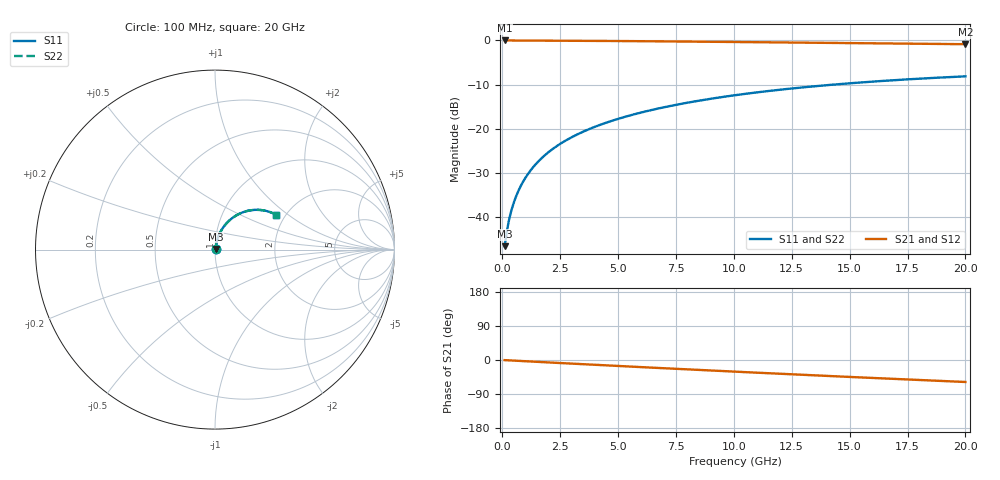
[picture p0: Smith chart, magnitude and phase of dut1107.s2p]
! Touchstone file exported from HFSS 2026.1.0
!  File:  C:/ffzhzh/LocalFiles/Ansys_Project_Files/temp_train_BSMRDL_1107_1783174877_43440.aedt
!  Generated:  10:22:38 PM Jul  4, 2026
!  Design:  BSMRDL
!  Project:  temp_train_BSMRDL_1107_1783174877_43440
! Variables:
!  h_bsmrdl = 5.64um
!  h_ox = 20um
!  h_rdl = 5um
!  h_sub = 80um
!  h_tmrdl = 5um
!  h_tsv = 80um
!  h_via = 3um
!  l_bsmrdl = 972.19um
!  l_sub = 1372.19um
!  l_tmrdl = 200um
!  m_sub = 200um
!  pitch = 36.12um
!  r_tsv = 6um
!  s_tmrdl = 10um
!  w_bsmrdl = 17.77um
!  w_sub = 500um
!  w_tmrdl = 12um
!  x_tsv_center1 = 206um
!  x_tsv_center2 = 1195.96um
!  x_tsv_center3 = 1407.96um
!  x_tsv_center4 = 2397.92um
!  x_tsv_center5 = 2609.92um
!  x_tsv_center6 = 3599.88um
# GHz S MA R 50.000000
! Terminal data exported
! Port[1] = BSM_RDL1_1_T1
! Port[2] = BSM_RDL1_1_T2
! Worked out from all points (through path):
!   200 points, 100 MHz to 20 GHz, reference 50 ohm
!   highest |S21| = -0.03 dB at 100 MHz (marker M1); lowest = -0.9 dB at 20 GHz (marker M2)
!   group delay of S21, straight-line fit = 8.04 ps
!   lowest |S11| = -46.6 dB at 100 MHz (marker M3), VSWR 1.01, Z = 50.4 + j0.305 ohm
!   |S11| at or under -10 dB: start of sweep to 14.34 GHz
!   |S22| runs from -46.6 to -8.1 dB; largest |S21 - S12| = 2e-14
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0.1  0.004701 40.1  0.9964 -0.3  0.9964 -0.3  0.004701 40.1
! Gamma 0 0 0 0
! Port Impedance 50 0 50 0
0.2  0.007047 56.6  0.9962 -0.7  0.9962 -0.7  0.007047 56.6
0.3  0.009562 64.2  0.996 -1.0  0.996 -1.0  0.009562 64.2
0.4  0.01212 68.6  0.9958 -1.3  0.9958 -1.3  0.01212 68.6
0.5  0.01471 71.4  0.9956 -1.6  0.9956 -1.6  0.01471 71.4
0.6  0.01732 73.4  0.9955 -2.0  0.9955 -2.0  0.01732 73.4
0.8  0.0226 75.8  0.9952 -2.6  0.9952 -2.6  0.0226 75.8
1.1  0.03058 77.4  0.9948 -3.6  0.9948 -3.6  0.03058 77.4
1.3  0.03591 77.8  0.9944 -4.2  0.9944 -4.2  0.03591 77.8
1.6  0.04388 77.9  0.9938 -5.2  0.9938 -5.2  0.04388 77.9
2.1  0.05705 77.3  0.9925 -6.7  0.9925 -6.7  0.05705 77.3
2.7  0.0726 76.1  0.9907 -8.6  0.9907 -8.6  0.07261 76.1
3.5  0.09285 74.1  0.9879 -11.1  0.9879 -11.1  0.09286 74.1
4.2  0.1101 72.2  0.9852 -13.3  0.9852 -13.3  0.1101 72.2
5  0.1294 70.0  0.982 -15.7  0.982 -15.7  0.1294 70.0
5.9  0.1504 67.5  0.978 -18.5  0.978 -18.5  0.1504 67.5
6.8  0.1709 65.0  0.9739 -21.2  0.9739 -21.2  0.1709 65.0
8.3  0.2036 60.9  0.9665 -25.6  0.9665 -25.6  0.2036 60.8
10.1  0.2405 55.9  0.9571 -30.9  0.9571 -30.9  0.2405 55.9
13.4  0.3008 47.0  0.9388 -40.3  0.9388 -40.3  0.3009 46.9
16.7  0.3512 38.3  0.9206 -49.3  0.9206 -49.3  0.3512 38.2
20  0.3914 29.9  0.9041 -58.0  0.9041 -58.0  0.3914 29.8
